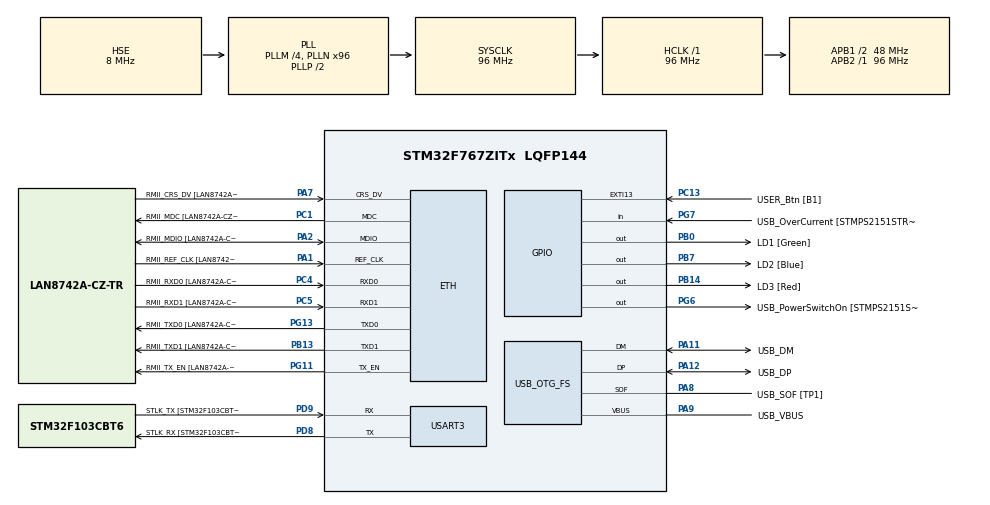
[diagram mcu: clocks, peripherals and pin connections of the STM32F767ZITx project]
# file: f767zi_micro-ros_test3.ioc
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CORTEX_M7.default_mode_Activation=1
Dma.Request0=USART3_RX
Dma.Request1=USART3_TX
Dma.USART3_RX.0.Direction=DMA_PERIPH_TO_MEMORY
Dma.USART3_RX.0.FIFOMode=DMA_FIFOMODE_DISABLE
Dma.USART3_RX.0.Instance=DMA1_Stream1
Dma.USART3_RX.0.MemDataAlignment=DMA_MDATAALIGN_BYTE
Dma.USART3_RX.0.MemInc=DMA_MINC_ENABLE
Dma.USART3_RX.0.Mode=DMA_CIRCULAR
Dma.USART3_RX.0.PeriphDataAlignment=DMA_PDATAALIGN_BYTE
Dma.USART3_RX.0.PeriphInc=DMA_PINC_DISABLE
Dma.USART3_RX.0.Priority=DMA_PRIORITY_VERY_HIGH
Dma.USART3_TX.1.Direction=DMA_MEMORY_TO_PERIPH
Dma.USART3_TX.1.FIFOMode=DMA_FIFOMODE_DISABLE
Dma.USART3_TX.1.Instance=DMA1_Stream3
Dma.USART3_TX.1.MemDataAlignment=DMA_MDATAALIGN_BYTE
Dma.USART3_TX.1.MemInc=DMA_MINC_ENABLE
Dma.USART3_TX.1.Mode=DMA_NORMAL
Dma.USART3_TX.1.PeriphDataAlignment=DMA_PDATAALIGN_BYTE
Dma.USART3_TX.1.PeriphInc=DMA_PINC_DISABLE
Dma.USART3_TX.1.Priority=DMA_PRIORITY_VERY_HIGH
ETH.MediaInterface=HAL_ETH_RMII_MODE
ETH.PHY_Name=LAN8742A_PHY_ADDRESS
ETH.PHY_Value=0
ETH.PhyAddress=0
FREERTOS.Tasks01=defaultTask,24,3000,StartDefaultTask,Default,NULL,Dynamic,NULL,NULL
FREERTOS.configTOTAL_HEAP_SIZE=130000
LWIP.BSP.number=1
LWIP.GATEWAY_ADDRESS=192.168.001.001
LWIP.IP_ADDRESS=192.168.001.100
LWIP.LWIP_DHCP=0
LWIP.MEM_SIZE=10240
LWIP.NETMASK_ADDRESS=255.255.255.000
LWIP.Version=v2.1.2_Cube
LWIP0.BSP.STBoard=false
LWIP0.BSP.api=BSP_COMPONENT_DRIVER
LWIP0.BSP.component=LAN8742
LWIP0.BSP.instance=LAN8742
LWIP0.BSP.name=Driver_PHY
LWIP0.BSP.semaphore=S_LAN8742
LWIP0.BSP.solution=LAN8742
Mcu.Family=STM32F7
Mcu.Name=STM32F767ZITx
Mcu.Package=LQFP144
NVIC.DMA1_Stream1_IRQn=true\:5\:0\:false\:false\:true\:true\:false\:true\:true
NVIC.DMA1_Stream3_IRQn=true\:5\:0\:false\:false\:true\:true\:false\:true\:true
NVIC.ETH_IRQn=true\:5\:0\:false\:false\:true\:true\:true\:true\:true
NVIC.PriorityGroup=NVIC_PRIORITYGROUP_4
NVIC.TIM1_UP_TIM10_IRQn=true\:15\:0\:false\:false\:true\:false\:false\:true\:true
NVIC.TimeBase=TIM1_UP_TIM10_IRQn
NVIC.TimeBaseIP=TIM1
NVIC.USART3_IRQn=true\:5\:0\:false\:false\:true\:true\:true\:true\:true
PA1.GPIO_Label=RMII_REF_CLK [LAN8742A-CZ-TR_REFCLK0]
PA1.Mode=RMII
PA1.Signal=ETH_REF_CLK
PA10.GPIO_Label=USB_ID
PA10.Signal=USB_OTG_FS_ID
PA11.GPIO_Label=USB_DM
PA11.Mode=Device_Only
PA11.Signal=USB_OTG_FS_DM
PA12.GPIO_Label=USB_DP
PA12.Mode=Device_Only
PA12.Signal=USB_OTG_FS_DP
PA13.GPIO_Label=TMS
PA13.Mode=Serial_Wire
PA13.Signal=SYS_JTMS-SWDIO
PA14.GPIO_Label=TCK
PA14.Mode=Serial_Wire
PA14.Signal=SYS_JTCK-SWCLK
PA2.GPIO_Label=RMII_MDIO [LAN8742A-CZ-TR_MDIO]
PA2.Mode=RMII
PA2.Signal=ETH_MDIO
PA7.GPIO_Label=RMII_CRS_DV [LAN8742A-CZ-TR_CRS_DV]
PA7.Mode=RMII
PA7.Signal=ETH_CRS_DV
PA8.GPIO_Label=USB_SOF [TP1]
PA8.Mode=Activate_SOF_FS
PA8.Signal=USB_OTG_FS_SOF
PA9.GPIO_Label=USB_VBUS
PA9.Mode=Activate_VBUS
PA9.Signal=USB_OTG_FS_VBUS
PB0.GPIO_Label=LD1 [Green]
PB0.Signal=GPIO_Output
PB13.GPIO_Label=RMII_TXD1 [LAN8742A-CZ-TR_TXD1]
PB13.Mode=RMII
PB13.Signal=ETH_TXD1
PB14.GPIO_Label=LD3 [Red]
PB14.Signal=GPIO_Output
PB3.GPIO_Label=SWO
PB3.Signal=SYS_JTDO-SWO
PB7.GPIO_Label=LD2 [Blue]
PB7.Signal=GPIO_Output
PC1.GPIO_Label=RMII_MDC [LAN8742A-CZ-TR_MDC]
PC1.Mode=RMII
PC1.Signal=ETH_MDC
PC13.GPIO_Label=USER_Btn [B1]
PC13.Signal=GPXTI13
PC14/OSC32_IN.Mode=LSE-External-Oscillator
PC14/OSC32_IN.Signal=RCC_OSC32_IN
PC15/OSC32_OUT.Mode=LSE-External-Oscillator
PC15/OSC32_OUT.Signal=RCC_OSC32_OUT
PC4.GPIO_Label=RMII_RXD0 [LAN8742A-CZ-TR_RXD0]
PC4.Mode=RMII
PC4.Signal=ETH_RXD0
PC5.GPIO_Label=RMII_RXD1 [LAN8742A-CZ-TR_RXD1]
PC5.Mode=RMII
PC5.Signal=ETH_RXD1
PD8.GPIO_Label=STLK_RX [STM32F103CBT6_PA3]
PD8.Mode=Asynchronous
PD8.Signal=USART3_TX
PD9.GPIO_Label=STLK_TX [STM32F103CBT6_PA2]
PD9.Mode=Asynchronous
PD9.Signal=USART3_RX
PG11.GPIO_Label=RMII_TX_EN [LAN8742A-CZ-TR_TXEN]
PG11.Mode=RMII
PG11.Signal=ETH_TX_EN
PG13.GPIO_Label=RMII_TXD0 [LAN8742A-CZ-TR_TXD0]
PG13.Mode=RMII
PG13.Signal=ETH_TXD0
PG6.GPIO_Label=USB_PowerSwitchOn [STMPS2151STR_EN]
PG6.Signal=GPIO_Output
PG7.GPIO_Label=USB_OverCurrent [STMPS2151STR_FAULT]
PG7.Signal=GPIO_Input
PH0/OSC_IN.GPIO_Label=MCO [STM32F103CBT6_PA8]
PH0/OSC_IN.Mode=HSE-External-Clock-Source
PH0/OSC_IN.Signal=RCC_OSC_IN
PH1/OSC_OUT.Mode=HSE-External-Clock-Source
PH1/OSC_OUT.Signal=RCC_OSC_OUT
ProjectManager.HeapSize=0x200
ProjectManager.StackSize=0x400
ProjectManager.TargetToolchain=CMake
RCC.48MHZClocksFreq_Value=24000000
RCC.AHBFreq_Value=96000000
RCC.APB1CLKDivider=RCC_HCLK_DIV2
RCC.APB1Freq_Value=48000000
RCC.APB1TimFreq_Value=96000000
RCC.APB2Freq_Value=96000000
RCC.APB2TimFreq_Value=96000000
RCC.CortexFreq_Value=96000000
RCC.HCLKFreq_Value=96000000
RCC.HSE_VALUE=8000000
RCC.HSI_VALUE=16000000
RCC.PLLM=4
RCC.PLLMUL=RCC_PLL_MUL9
RCC.PLLN=96
RCC.PLLQ=4
RCC.PRESCALERUSB=RCC_USBCLKSOURCE_PLL_DIV1_5
RCC.SYSCLKFreq_VALUE=96000000
RCC.SYSCLKSource=RCC_SYSCLKSOURCE_PLLCLK
RCC.SYSCLKSourceVirtual=RCC_SYSCLKSOURCE_PLLCLK
RCC.USBFreq_Value=48000000
RCC.VCOOutputFreq_Value=192000000
USART3.VirtualMode-Asynchronous=VM_ASYNC
USB_OTG_FS.VirtualMode=Device_Only
VP_FREERTOS_VS_CMSIS_V2.Mode=CMSIS_V2
VP_LWIP_VS_Enabled.Mode=Enabled
VP_SYS_VS_tim1.Mode=TIM1
board=NUCLEO-F767ZI

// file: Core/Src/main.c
/* USER CODE BEGIN Header */
/**
  ******************************************************************************
  * @file           : main.c
  * @brief          : Main program body
  ******************************************************************************
  * @attention
  *
  * Copyright (c) 2026 STMicroelectronics.
  * All rights reserved.
  *
  * This software is licensed under terms that can be found in the LICENSE file
  * in the root directory of this software component.
  * If no LICENSE file comes with this software, it is provided AS-IS.
  *
  ******************************************************************************
  */
/* USER CODE END Header */
#include "main.h"
#include "cmsis_os.h"
#include "dma.h"
#include "lwip.h"
#include "usart.h"
#include "usb_otg.h"
#include "gpio.h"

void SystemClock_Config(void);
static void MPU_Config(void);
void MX_FREERTOS_Init(void);

int main(void)
{

  /* MPU Configuration--------------------------------------------------------*/
  MPU_Config();

  /* MCU Configuration--------------------------------------------------------*/

  /* Reset of all peripherals, Initializes the Flash interface and the Systick. */
  HAL_Init();

  /* Configure the system clock */
  SystemClock_Config();

  /* Initialize all configured peripherals */
  MX_GPIO_Init();
  MX_DMA_Init();
  MX_USART3_UART_Init();
  MX_USB_OTG_FS_PCD_Init();

  /* Init scheduler */
  osKernelInitialize();  /* Call init function for freertos objects (in cmsis_os2.c) */
  MX_FREERTOS_Init();

  /* Start scheduler */
  osKernelStart();

  /* We should never get here as control is now taken by the scheduler */

  /* Infinite loop */
  while (1)
  {

  }
}

void SystemClock_Config(void)
{
  RCC_OscInitTypeDef RCC_OscInitStruct = {0};
  RCC_ClkInitTypeDef RCC_ClkInitStruct = {0};

  /** Configure LSE Drive Capability
  */
  HAL_PWR_EnableBkUpAccess();

  /** Configure the main internal regulator output voltage
  */
  __HAL_RCC_PWR_CLK_ENABLE();
  __HAL_PWR_VOLTAGESCALING_CONFIG(PWR_REGULATOR_VOLTAGE_SCALE3);

  /** Initializes the RCC Oscillators according to the specified parameters
  * in the RCC_OscInitTypeDef structure.
  */
  RCC_OscInitStruct.OscillatorType = RCC_OSCILLATORTYPE_HSE;
  RCC_OscInitStruct.HSEState = RCC_HSE_BYPASS;
  RCC_OscInitStruct.PLL.PLLState = RCC_PLL_ON;
  RCC_OscInitStruct.PLL.PLLSource = RCC_PLLSOURCE_HSE;
  RCC_OscInitStruct.PLL.PLLM = 4;
  RCC_OscInitStruct.PLL.PLLN = 96;
  RCC_OscInitStruct.PLL.PLLP = RCC_PLLP_DIV2;
  RCC_OscInitStruct.PLL.PLLQ = 4;
  RCC_OscInitStruct.PLL.PLLR = 2;
  if (HAL_RCC_OscConfig(&RCC_OscInitStruct) != HAL_OK)
  {
    Error_Handler();
  }

  /** Activate the Over-Drive mode
  */
  if (HAL_PWREx_EnableOverDrive() != HAL_OK)
  {
    Error_Handler();
  }

  /** Initializes the CPU, AHB and APB buses clocks
  */
  RCC_ClkInitStruct.ClockType = RCC_CLOCKTYPE_HCLK|RCC_CLOCKTYPE_SYSCLK
                              |RCC_CLOCKTYPE_PCLK1|RCC_CLOCKTYPE_PCLK2;
  RCC_ClkInitStruct.SYSCLKSource = RCC_SYSCLKSOURCE_PLLCLK;
  RCC_ClkInitStruct.AHBCLKDivider = RCC_SYSCLK_DIV1;
  RCC_ClkInitStruct.APB1CLKDivider = RCC_HCLK_DIV2;
  RCC_ClkInitStruct.APB2CLKDivider = RCC_HCLK_DIV1;

  if (HAL_RCC_ClockConfig(&RCC_ClkInitStruct, FLASH_LATENCY_3) != HAL_OK)
  {
    Error_Handler();
  }
}

 /* MPU Configuration */

void MPU_Config(void)
{
  MPU_Region_InitTypeDef MPU_InitStruct = {0};

  /* Disables the MPU */
  HAL_MPU_Disable();

  /** Initializes and configures the Region and the memory to be protected
  */
  MPU_InitStruct.Enable = MPU_REGION_ENABLE;
  MPU_InitStruct.Number = MPU_REGION_NUMBER0;
  MPU_InitStruct.BaseAddress = 0x0;
  MPU_InitStruct.Size = MPU_REGION_SIZE_4GB;
  MPU_InitStruct.SubRegionDisable = 0x87;
  MPU_InitStruct.TypeExtField = MPU_TEX_LEVEL0;
  MPU_InitStruct.AccessPermission = MPU_REGION_NO_ACCESS;
  MPU_InitStruct.DisableExec = MPU_INSTRUCTION_ACCESS_DISABLE;
  MPU_InitStruct.IsShareable = MPU_ACCESS_SHAREABLE;
  MPU_InitStruct.IsCacheable = MPU_ACCESS_NOT_CACHEABLE;
  MPU_InitStruct.IsBufferable = MPU_ACCESS_NOT_BUFFERABLE;

  HAL_MPU_ConfigRegion(&MPU_InitStruct);
  /* Enables the MPU */
  HAL_MPU_Enable(MPU_PRIVILEGED_DEFAULT);

}

void HAL_TIM_PeriodElapsedCallback(TIM_HandleTypeDef *htim)
{
  if (htim->Instance == TIM1)
  {
    HAL_IncTick();
  }
}

void Error_Handler(void)
{
  __disable_irq();
  while (1)
  {
  }
}

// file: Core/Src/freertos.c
/* USER CODE BEGIN Header */
/**
  ******************************************************************************
  * File Name          : freertos.c
  * Description        : Code for freertos applications
  ******************************************************************************
  * @attention
  *
  * Copyright (c) 2026 STMicroelectronics.
  * All rights reserved.
  *
  * This software is licensed under terms that can be found in the LICENSE file
  * in the root directory of this software component.
  * If no LICENSE file comes with this software, it is provided AS-IS.
  *
  ******************************************************************************
  */
/* USER CODE END Header */

#include "FreeRTOS.h"
#include "task.h"
#include "main.h"
#include "cmsis_os.h"
#include "lwip.h"

/* USER CODE BEGIN Includes */
#include <rcl/rcl.h>
#include <rcl/error_handling.h>
#include <rclc/rclc.h>
#include <rclc/executor.h>
#include <uxr/client/transport.h>
#include <rmw_microxrcedds_c/config.h>
#include <rmw_microros/rmw_microros.h>
#include <std_msgs/msg/int32.h>

bool cubemx_transport_open(struct uxrCustomTransport * transport);
bool cubemx_transport_close(struct uxrCustomTransport * transport);
size_t cubemx_transport_write(struct uxrCustomTransport* transport, const uint8_t * buf, size_t len, uint8_t * err);
size_t cubemx_transport_read(struct uxrCustomTransport* transport, uint8_t* buf, size_t len, int timeout, uint8_t* err);

void * microros_allocate(size_t size, void * state);
void microros_deallocate(void * pointer, void * state);
void * microros_reallocate(void * pointer, size_t size, void * state);
void * microros_zero_allocate(size_t number_of_elements, size_t size_of_element, void * state);

extern UART_HandleTypeDef huart3;
/* USER CODE END Includes */

/* USER CODE BEGIN PD */
#define RCCHECK(fn) { rcl_ret_t temp_rc = fn; if((temp_rc != RCL_RET_OK)){ while(1) { MX_LWIP_Process(); osDelay(10); } } }
#define RCSOFTCHECK(fn) { rcl_ret_t temp_rc = fn; if((temp_rc != RCL_RET_OK)){}}
/* USER CODE END PD */

/* Definitions for defaultTask */
osThreadId_t defaultTaskHandle;
const osThreadAttr_t defaultTask_attributes = {
  .name = "defaultTask",
  .stack_size = 3000 * 4,
  .priority = (osPriority_t) osPriorityNormal,
};

void subscription_callback(const void * msgin)
{
  const std_msgs__msg__Int32 * msg = (const std_msgs__msg__Int32 *)msgin;
  if (msg->data == 1) {
    HAL_GPIO_WritePin(LD1_GPIO_Port, LD1_Pin, GPIO_PIN_SET);
  } else {
    HAL_GPIO_WritePin(LD1_GPIO_Port, LD1_Pin, GPIO_PIN_RESET);
  }
}/* USER CODE BEGIN FunctionPrototypes */

/* USER CODE END FunctionPrototypes */

void StartDefaultTask(void *argument);

extern void MX_LWIP_Init(void);
void MX_FREERTOS_Init(void); /* (MISRA C 2004 rule 8.1) */

void MX_FREERTOS_Init(void) {

  /* Create the thread(s) */
  /* creation of defaultTask */
  defaultTaskHandle = osThreadNew(StartDefaultTask, NULL, &defaultTask_attributes);

}

void StartDefaultTask(void *argument)
{
  /* init code for LWIP */
  MX_LWIP_Init();
  /* USER CODE BEGIN StartDefaultTask */
  // micro-ROS transport Configuration
  rmw_uros_set_custom_transport(
    false,
    (void *) NULL,
    cubemx_transport_open,
    cubemx_transport_close,
    cubemx_transport_write,
    cubemx_transport_read);  // set micro-ROS Allocators
  rcl_allocator_t freeRTOS_allocator = rcutils_get_zero_initialized_allocator();
  freeRTOS_allocator.allocate = microros_allocate;
  freeRTOS_allocator.deallocate = microros_deallocate;
  freeRTOS_allocator.reallocate = microros_reallocate;
  freeRTOS_allocator.zero_allocate =  microros_zero_allocate;

  if (!rcutils_set_default_allocator(&freeRTOS_allocator)) {
      // Setup error handling
  }

  // micro-ROS app objects
  rcl_subscription_t subscriber;
  std_msgs__msg__Int32 msg;
  rclc_executor_t executor;
  rclc_support_t support;
  rcl_allocator_t allocator;
  rcl_node_t node;

  allocator = rcl_get_default_allocator();

  // create init_options
  RCCHECK(rclc_support_init(&support, 0, NULL, &allocator));

  // create node
  RCCHECK(rclc_node_init_default(&node, "stm32_led_node", "", &support));

  // create subscriber
  RCCHECK(rclc_subscription_init_default(
    &subscriber,
    &node,
    ROSIDL_GET_MSG_TYPE_SUPPORT(std_msgs, msg, Int32),
    "/led_topic"));

  // create executor
  RCCHECK(rclc_executor_init(&executor, &support.context, 1, &allocator));
  RCCHECK(rclc_executor_add_subscription(&executor, &subscriber, &msg, &subscription_callback, ON_NEW_DATA));

  /* Infinite loop */
  for(;;)
  {
    MX_LWIP_Process();
    rclc_executor_spin_some(&executor, RCL_MS_TO_NS(10));
    osDelay(10);
  }
  /* USER CODE END StartDefaultTask */
}
